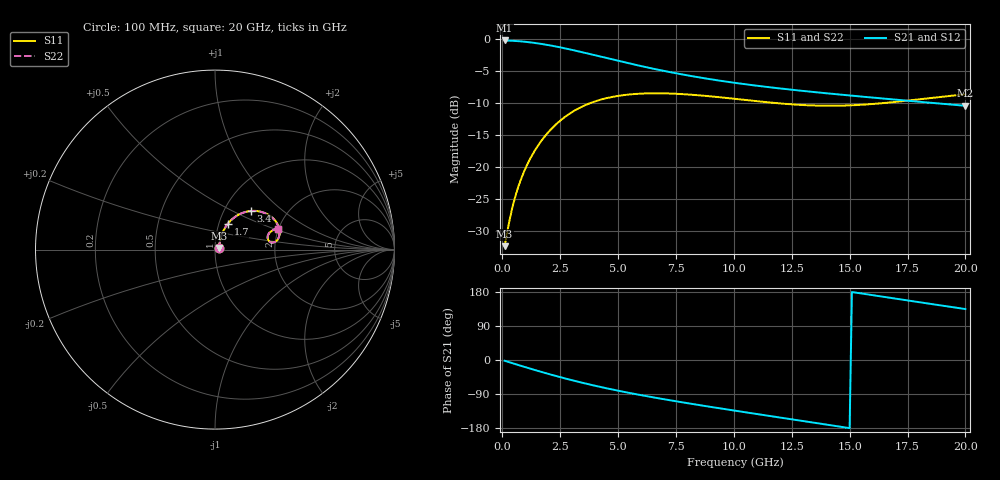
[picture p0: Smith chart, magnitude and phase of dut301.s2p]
! Touchstone file exported from HFSS 2024.1.0
!  File:  C:/UserFiles/LocalFiles/RDL_TSV_Batchsim/temp_RDL_TSV_301_1779624890.aedt
!  Generated:  08:35:21 PM May 24, 2026
!  Design:  RDL_TSV
!  Project:  temp_RDL_TSV_301_1779624890
!  Setup:  Setup1
!  Solution:  Sweep
! Variables:
!  dtsv = 6.72um
!  hbump = 3um
!  htsv = 63.64um
!  ldown = 592.14um
!  lrdl = 419.11um
!  p = 40
!  p1 = 58.51um
!  rhole = 10um
!  subl = 3452.86um
!  t = 450um
!  tdown = 4.1um
!  trdl = 3.61um
!  viad = 10um
!  wdown = 10.31um
!  wrdl = 28.17um
!  xbump = 18um
# GHz S MA R 50.000000
! Terminal data exported
! Port[1] = TM1_1_T1
! Port[2] = TM1_4_T1
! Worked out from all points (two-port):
!   200 points, 100 MHz to 20 GHz, reference 50 ohm
!   highest |S21| = -0.19 dB at 100 MHz (marker M1); lowest = -10.4 dB at 20 GHz (marker M2)
!   |S21| within 3 dB of the highest: start of sweep to 4.782 GHz
!   lowest |S11| = -32.5 dB at 100 MHz (marker M3), VSWR 1.05, Z = 52.2 + j1.02 ohm
!   |S11| at or under -10 dB: start of sweep to 3.811 GHz; 11.79 GHz to 16.5 GHz (4.712 GHz wide, 33.3 % of centre)
!   |S22| runs from -32.5 to -8.5 dB; largest |S21 - S12| = 7.1e-15
!   S11 on the Smith chart (normalised r, x): 100 MHz: 1.04, +0.02; 1.7 GHz: 1.10, +0.33; 3.4 GHz: 1.33, +0.63; 20 GHz: 2.00, +0.53
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0.1  0.02385 24.1  0.9782 -2.0  0.9782 -2.0  0.02385 24.1
! Gamma 0 0 0 0
! Port Impedance 50 0 50 0
0.4  0.045 55.2  0.9733 -7.7  0.9733 -7.7  0.045 55.2
0.7  0.07037 63.4  0.9655 -13.4  0.9655 -13.4  0.07037 63.4
1.1  0.1061 65.9  0.9502 -20.8  0.9502 -20.8  0.1061 65.9
1.4  0.1336 65.3  0.9354 -26.3  0.9354 -26.3  0.1335 65.2
1.7  0.1609 63.6  0.9181 -31.6  0.9181 -31.6  0.1608 63.6
2.5  0.2299 56.6  0.8637 -45.2  0.8637 -45.2  0.2297 56.5
2.9  0.2605 52.5  0.8336 -51.6  0.8336 -51.6  0.2602 52.4
3.4  0.2936 47.2  0.795 -59.3  0.795 -59.3  0.2932 47.1
3.5  0.2995 46.1  0.7873 -60.7  0.7873 -60.7  0.2991 46.0
4.2  0.3339 39.0  0.7342 -70.6  0.7342 -70.6  0.3333 38.9
5.1  0.3617 30.8  0.671 -82.2  0.671 -82.2  0.361 30.7
5.9  0.3738 24.6  0.6213 -91.7  0.6213 -91.7  0.3729 24.5
6.8  0.3768 18.8  0.5731 -101.6  0.5731 -101.6  0.3757 18.7
8.3  0.3658 11.8  0.5093 -117.0  0.5093 -117.0  0.3644 11.7
10.1  0.3401 7.5  0.4536 -134.2  0.4536 -134.2  0.3386 7.4
11.7  0.3173 7.2  0.417 -149.1  0.417 -149.1  0.3156 7.2
13.4  0.3025 9.9  0.3864 -164.9  0.3864 -164.9  0.3009 10.0
15  0.303 13.7  0.3622 -179.7  0.3622 -179.7  0.3016 13.9
16.7  0.3188 17.2  0.3395 164.5  0.3395 164.5  0.3177 17.4
18.4  0.3445 18.5  0.3187 148.9  0.3187 148.9  0.3437 18.8
20  0.3705 17.8  0.3007 134.5  0.3007 134.5  0.3701 18.1
